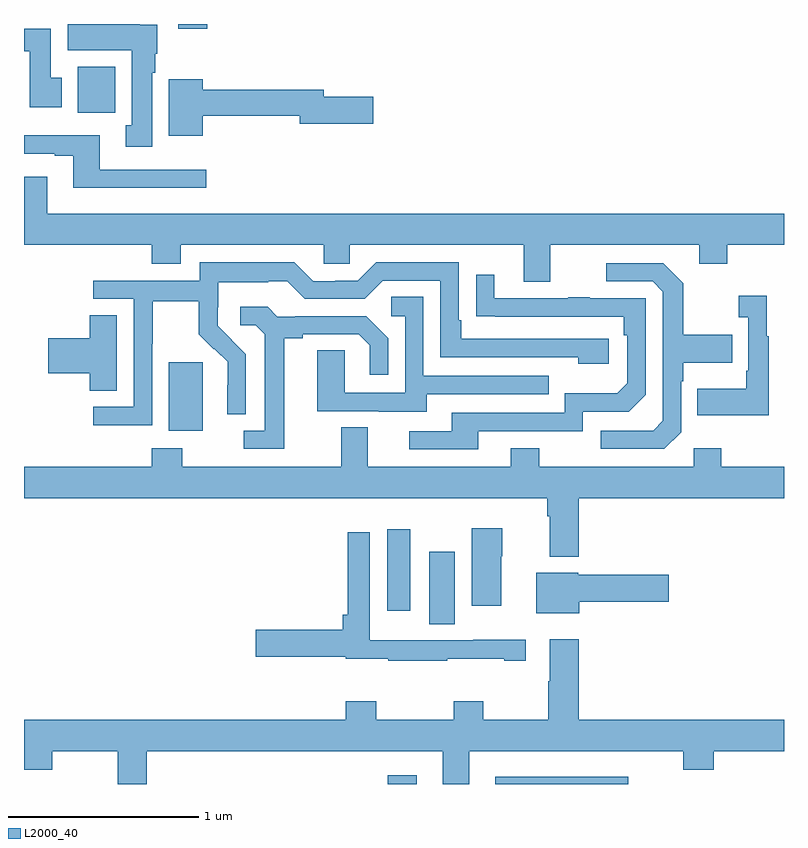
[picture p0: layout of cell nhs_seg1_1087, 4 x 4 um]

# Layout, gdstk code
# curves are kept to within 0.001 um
import gdstk
lib = gdstk.Library(unit=1e-6, precision=1e-09)
def R(c, l, rs):  # rectangles x0, y0, x1, y1
    for r in rs: c.add(gdstk.rectangle(r[:2], r[2:], *l))
def P(c, l, *ps):  # polygons
    for p in ps: c.add(gdstk.Polygon(p, *l))
L2000_40 = (2000, 40)

nhs_seg1_1087 = lib.new_cell('nhs_seg1_1087')
R(nhs_seg1_1087, L2000_40, [(170.915,578.199,171.067,578.245), (171.479,578.199,172.18,578.236), (171.134,579.04,171.268,579.421), (170.912,579.111,171.034,579.541), (169.763,580.058,169.942,580.419), (169.283,581.732,169.48,581.974), (169.811,582.174,169.964,582.199)])
P(nhs_seg1_1087, L2000_40, [(169.675,581.942),(169.69,581.942),(169.69,582.042),(169.702,582.042),(169.702,582.196),(169.609,582.196),(169.609,582.199),(169.229,582.199),(169.229,582.062),(169.568,582.062),(169.568,581.666),(169.535,581.666),(169.535,581.553),(169.675,581.553)],
  [(169.198,581.916),(169.141,581.916),(169.141,582.174),(169,582.174),(169,582.056),(169.031,582.056),(169.031,581.76),(169.198,581.76)],
  [(169.942,581.716),(170.45,581.716),(170.45,581.674),(170.839,581.674),(170.839,581.816),(170.578,581.816),(170.578,581.852),(169.942,581.852),(169.942,581.908),(169.763,581.908),(169.763,581.612),(169.942,581.612)],
  [(169.96,581.433),(169.399,581.433),(169.399,581.614),(169,581.614),(169,581.517),(169.163,581.517),(169.163,581.505),(169.259,581.505),(169.259,581.336),(169.96,581.336)],
  [(171.769,581.036),(172.553,581.036),(172.553,580.937),(172.701,580.937),(172.701,581.036),(173,581.036),(173,581.2),(169.123,581.2),(169.123,581.395),(169,581.395),(169,581.036),(169.673,581.036),(169.673,580.937),(169.825,580.937),(169.825,581.036),(170.577,581.036),(170.577,580.938),(170.715,580.938),(170.715,581.036),(171.629,581.036),(171.629,580.842),(171.769,580.842)],
  [(169.674,580.516),(169.677,580.516),(169.677,580.74),(169.921,580.74),(169.921,580.565),(169.998,580.488),(170.001,580.491),(170.072,580.421),(170.072,580.298),(170.07,580.298),(170.07,580.144),(170.166,580.144),(170.166,580.462),(170.02,580.61),(170.02,580.707),(170.022,580.707),(170.022,580.841),(170.285,580.841),(170.285,580.845),(170.385,580.845),(170.478,580.752),(170.793,580.752),(170.889,580.848),(171.192,580.848),(171.192,580.446),(171.917,580.446),(171.917,580.412),(172.078,580.412),(172.078,580.542),(171.301,580.542),(171.301,580.639),(171.288,580.639),(171.288,580.944),(170.853,580.944),(170.757,580.848),(170.639,580.848),(170.639,580.845),(170.523,580.845),(170.423,580.945),(169.926,580.945),(169.926,580.848),(169.365,580.848),(169.365,580.752),(169.578,580.752),(169.578,580.185),(169.365,580.185),(169.365,580.087),(169.674,580.087)],
  [(172.458,580.05),(172.458,580.319),(172.471,580.319),(172.471,580.415),(172.727,580.415),(172.727,580.563),(172.471,580.563),(172.471,580.835),(172.365,580.941),(172.065,580.941),(172.065,580.845),(172.308,580.845),(172.362,580.791),(172.362,580.11),(172.311,580.059),(172.035,580.059),(172.035,579.963),(172.371,579.963)],
  [(171.391,580.056),(171.942,580.056),(171.942,580.158),(172.182,580.158),(172.272,580.248),(172.272,580.755),(171.977,580.755),(171.977,580.76),(171.865,580.76),(171.865,580.755),(171.475,580.755),(171.475,580.879),(171.379,580.879),(171.379,580.66),(172.156,580.659),(172.156,580.562),(172.176,580.562),(172.176,580.308),(172.123,580.255),(171.846,580.255),(171.846,580.152),(171.251,580.152),(171.251,580.056),(171.027,580.056),(171.027,579.96),(171.391,579.96)],
  [(172.921,580.555),(172.909,580.555),(172.909,580.768),(172.761,580.768),(172.761,580.655),(172.812,580.655),(172.812,580.375),(172.8,580.375),(172.8,580.279),(172.543,580.279),(172.543,580.139),(172.921,580.139)],
  [(171.121,580.251),(171.761,580.251),(171.761,580.347),(171.102,580.347),(171.102,580.763),(170.934,580.763),(170.934,580.662),(171.006,580.662),(171.006,580.257),(170.688,580.257),(170.688,580.481),(170.543,580.481),(170.543,580.161),(170.867,580.161),(170.867,580.157),(171.121,580.157)],
  [(170.371,580.544),(170.467,580.544),(170.467,580.566),(170.762,580.566),(170.819,580.509),(170.819,580.353),(170.916,580.353),(170.916,580.546),(170.8,580.662),(170.428,580.662),(170.428,580.659),(170.334,580.659),(170.282,580.711),(170.139,580.711),(170.139,580.614),(170.22,580.614),(170.267,580.567),(170.267,580.059),(170.157,580.059),(170.157,579.963),(170.371,579.963)],
  [(169.489,580.667),(169.346,580.667),(169.346,580.544),(169.128,580.544),(169.128,580.361),(169.346,580.361),(169.346,580.27),(169.489,580.27)],
  [(171.92,579.704),(173,579.704),(173,579.868),(172.671,579.868),(172.671,579.967),(172.524,579.967),(172.524,579.868),(171.711,579.868),(171.711,579.967),(171.563,579.967),(171.563,579.868),(170.809,579.868),(170.809,580.076),(170.669,580.076),(170.669,579.868),(169.833,579.868),(169.833,579.967),(169.673,579.967),(169.673,579.868),(169,579.868),(169,579.704),(171.755,579.704),(171.755,579.608),(171.767,579.608),(171.767,579.395),(171.92,579.395)],
  [(171.511,579.399),(171.517,579.399),(171.517,579.544),(171.356,579.544),(171.356,579.138),(171.511,579.138)],
  [(171.227,578.857),(171.527,578.857),(171.527,578.847),(171.64,578.847),(171.64,578.957),(171.364,578.957),(171.364,578.955),(171.03,578.955),(171.03,578.956),(170.82,578.956),(170.82,579.523),(170.704,579.523),(170.704,579.091),(170.678,579.091),(170.678,579.011),(170.22,579.011),(170.22,578.869),(170.694,578.869),(170.694,578.857),(170.917,578.857),(170.917,578.847),(171.227,578.847)],
  [(171.922,579.158),(172.393,579.158),(172.393,579.3),(171.918,579.3),(171.918,579.31),(171.695,579.31),(171.695,579.098),(171.922,579.098)],
  [(169.646,578.372),(171.203,578.372),(171.203,578.199),(171.343,578.199),(171.343,578.372),(172.469,578.372),(172.469,578.273),(172.629,578.273),(172.629,578.372),(173,578.372),(173,578.536),(171.92,578.536),(171.92,578.962),(171.767,578.962),(171.767,578.741),(171.76,578.741),(171.76,578.536),(171.417,578.536),(171.417,578.635),(171.262,578.635),(171.262,578.536),(170.853,578.536),(170.853,578.635),(170.693,578.635),(170.693,578.536),(169,578.536),(169,578.372),(169.001,578.372),(169.001,578.273),(169.149,578.273),(169.149,578.372),(169.493,578.372),(169.493,578.199),(169.646,578.199)])

lib.write_gds('nhs_seg1_1087.gds')
